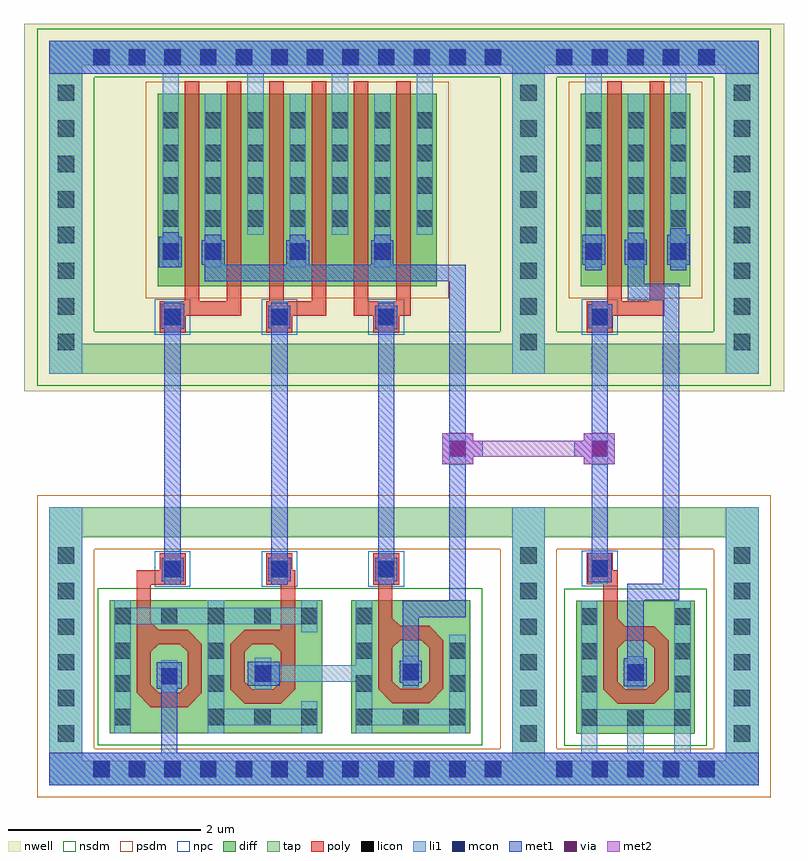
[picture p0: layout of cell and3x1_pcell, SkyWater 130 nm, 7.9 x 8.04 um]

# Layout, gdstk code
from math import pi, radians
import gdstk
lib = gdstk.Library(unit=1e-6, precision=1e-09)
def R(c, l, rs):  # rectangles x0, y0, x1, y1
    for r in rs: c.add(gdstk.rectangle(r[:2], r[2:], *l))
def A(c, l, x, y, w, h, nx, ny, dx, dy):  # array of equal rectangles
    R(c, l, [(x+i*dx, y+j*dy, x+i*dx+w, y+j*dy+h) for i in range(nx) for j in range(ny)])
def P(c, l, *ps):  # polygons
    for p in ps: c.add(gdstk.Polygon(p, *l))
nwell = (64, 20)
diff = (65, 20)
tap = (65, 44)
poly = (66, 20)
licon = (66, 44)
li1 = (67, 20)
mcon = (67, 44)
met1 = (68, 20)
via = (68, 44)
met2 = (69, 20)
nsdm = (93, 44)
psdm = (94, 20)
npc = (95, 20)

diff_ring_side = lib.new_cell('diff_ring_side')
R(diff_ring_side, nwell, [(-0.435,3.93,0.435,7.75)])
R(diff_ring_side, tap, [(-0.17,-0.17,0.17,2.72), (-0.17,4.11,0.17,7.57)])
A(diff_ring_side, licon, -0.085, 0.285, 0.17, 0.17, 1, 6, 0, 0.37)
A(diff_ring_side, licon, -0.085, 4.355, 0.17, 0.17, 1, 8, 0, 0.37)
R(diff_ring_side, li1, [(-0.17,-0.17,0.17,2.72), (-0.17,4.11,0.17,7.57)])
R(diff_ring_side, met1, [(-0.17,-0.17,0.17,0.17), (-0.17,7.23,0.17,7.57)])
R(diff_ring_side, nsdm, [(-0.295,3.985,0.295,7.695)])
R(diff_ring_side, psdm, [(-0.295,-0.295,0.295,2.845)])

nmos_bottom = lib.new_cell('nmos_bottom')
R(nmos_bottom, diff, [(0,0,1.24,1.38)])
R(nmos_bottom, poly, [(0.43,0.27,0.81,0.42), (0.28,0.42,0.43,0.925), (0.81,0.42,0.96,0.925), (0.43,0.925,0.96,1.075), (0.81,1.075,0.96,1.51)])
P(nmos_bottom, poly, [(0.73,1.075),(0.81,1.075),(0.81,1.155)],
  [(0.28,0.925),(0.43,0.925),(0.43,1.075)],
  [(0.43,0.845),(0.43,0.925),(0.51,0.925)],
  [(0.73,0.925),(0.81,0.925),(0.81,0.845)],
  [(0.43,0.5),(0.43,0.42),(0.51,0.42)],
  [(0.73,0.42),(0.81,0.42),(0.81,0.5)],
  [(0.28,0.42),(0.43,0.42),(0.43,0.27)],
  [(0.81,0.27),(0.81,0.42),(0.96,0.42)])
A(nmos_bottom, licon, 0.05, 1.13, 0.17, 0.17, 3, 1, 0.485, 0)
R(nmos_bottom, licon, [(0.05,0.08,0.22,0.25), (1.02,0.08,1.19,0.25), (0.05,0.43,0.22,0.6), (1.02,0.43,1.19,0.6), (0.535,0.505,0.705,0.675), (0.05,0.77,0.22,0.94), (1.02,0.77,1.19,0.94)])
R(nmos_bottom, li1, [(0.05,0,0.22,1.13), (1.02,0,1.19,1.13), (0.535,0.425,0.705,0.755), (0.05,1.13,1.19,1.3), (0.05,1.3,0.22,1.38), (1.02,1.3,1.19,1.38)])
R(nmos_bottom, nsdm, [(-0.125,-0.125,1.365,1.505)])

pmos2 = lib.new_cell('pmos2')
R(pmos2, nwell, [(0.26,-2.18,1.76,0.18)])
R(pmos2, diff, [(0.44,-2,1.58,0)])
R(pmos2, poly, [(0.72,-2.305,1.31,-2.155), (0.72,-2.155,0.87,0.13), (1.16,-2.155,1.31,0.13)])
A(pmos2, licon, 0.49, -1.38, 0.17, 0.17, 3, 4, 0.44, 0.34)
R(pmos2, li1, [(0.49,-1.465,0.66,0.21), (0.93,-1.465,1.1,0), (1.37,-1.465,1.54,0.21)])
R(pmos2, psdm, [(0.315,-2.125,1.705,0.125)])

poly_li1_contact = lib.new_cell('poly_li1_contact')
R(poly_li1_contact, poly, [(-0.16,-0.14,0.17,0.13)])
R(poly_li1_contact, licon, [(-0.08,-0.09,0.09,0.08)])
R(poly_li1_contact, li1, [(-0.16,-0.09,0.17,0.08)])
R(poly_li1_contact, npc, [(-0.18,-0.19,0.19,0.18)])

nmos_side_left = lib.new_cell('nmos_side_left')
R(nmos_side_left, diff, [(0,0,1.24,1.38)])
R(nmos_side_left, poly, [(0.435,0.305,0.81,0.455), (0.285,0.455,0.435,0.925), (0.81,0.455,0.96,0.925), (0.435,0.925,0.96,1.075), (0.81,1.075,0.96,1.51)])
P(nmos_side_left, poly, [(0.285,0.925),(0.435,0.925),(0.435,1.075)],
  [(0.435,0.845),(0.435,0.925),(0.515,0.925)],
  [(0.73,0.925),(0.81,0.925),(0.81,0.845)],
  [(0.435,0.535),(0.435,0.455),(0.515,0.455)],
  [(0.73,0.455),(0.81,0.455),(0.81,0.535)],
  [(0.285,0.455),(0.435,0.455),(0.435,0.305)],
  [(0.81,0.305),(0.81,0.455),(0.96,0.455)])
A(nmos_side_left, licon, 0.05, 0.08, 0.17, 0.17, 3, 2, 0.485, 1.05)
R(nmos_side_left, licon, [(0.05,0.43,0.22,0.6), (0.54,0.535,0.71,0.705), (0.05,0.77,0.22,0.94)])
R(nmos_side_left, li1, [(0.05,0,0.22,0.08), (1.02,0,1.19,0.08), (0.05,0.08,1.19,0.25), (0.05,0.25,0.22,1.13), (1.02,0.25,1.19,0.33), (0.54,0.455,0.71,0.785), (1.02,1.05,1.19,1.13), (0.05,1.13,1.19,1.3), (0.05,1.3,0.22,1.38), (1.02,1.3,1.19,1.38)])
R(nmos_side_left, nsdm, [(-0.125,-0.125,1.365,1.505)])

nmos_top_trim1 = lib.new_cell('nmos_top_trim1')
R(nmos_top_trim1, diff, [(0,0,1.24,1.38)])
R(nmos_top_trim1, poly, [(0.43,0.31,0.81,0.46), (0.28,0.46,0.43,0.965), (0.81,0.46,0.96,0.965), (0.43,0.965,0.96,1.115), (0.81,1.115,0.96,1.545)])
P(nmos_top_trim1, poly, [(0.73,1.115),(0.81,1.115),(0.81,1.195)],
  [(0.28,0.965),(0.43,0.965),(0.43,1.115)],
  [(0.43,0.885),(0.43,0.965),(0.51,0.965)],
  [(0.73,0.965),(0.81,0.965),(0.81,0.885)],
  [(0.43,0.54),(0.43,0.46),(0.51,0.46)],
  [(0.73,0.46),(0.81,0.46),(0.81,0.54)],
  [(0.28,0.46),(0.43,0.46),(0.43,0.31)],
  [(0.81,0.31),(0.81,0.46),(0.96,0.46)])
A(nmos_top_trim1, licon, 0.05, 0.08, 0.17, 0.17, 3, 1, 0.485, 0)
R(nmos_top_trim1, licon, [(0.05,0.43,0.22,0.6), (1.02,0.43,1.19,0.6), (0.535,0.55,0.705,0.72), (0.05,0.77,0.22,0.94), (1.02,0.77,1.19,0.94), (1.02,1.13,1.19,1.3)])
R(nmos_top_trim1, li1, [(0.05,0,0.22,0.08), (1.02,0,1.19,0.08), (0.05,0.08,1.19,0.25), (0.05,0.25,0.22,1.02), (1.02,0.25,1.19,1.38), (0.535,0.47,0.705,0.805)])
R(nmos_top_trim1, nsdm, [(-0.125,-0.125,1.365,1.505)])

nand3x1_pcell = lib.new_cell('nand3x1_pcell')
R(nand3x1_pcell, nwell, [(0.435,3.93,4.375,5.28), (0.435,5.28,1.1,5.295), (1.395,5.28,4.375,5.495), (0.435,5.295,1.025,5.465), (1.145,5.295,1.315,5.465), (0.435,5.465,1.1,5.495), (0.435,5.495,4.375,7.75)])
A(nand3x1_pcell, diff, 1.445, 5.295, 0.17, 0.17, 3, 1, 0.88, 0)
R(nand3x1_pcell, diff, [(1.005,5.295,1.175,5.465)])
R(nand3x1_pcell, tap, [(0.17,-0.17,4.64,0.085), (0.17,2.41,4.64,2.72), (0.17,4.11,4.64,4.42), (0.17,7.315,4.64,7.57)])
R(nand3x1_pcell, poly, [(0.735,1.885,0.885,1.915), (2.235,1.885,2.385,1.915), (0.735,1.915,0.975,2.065), (2.355,1.915,2.385,2.065)])
A(nand3x1_pcell, licon, 0.285, -0.085, 0.17, 0.17, 12, 2, 0.37, 7.4)
A(nand3x1_pcell, licon, 1.445, 5.295, 0.17, 0.17, 3, 1, 0.88, 0)
R(nand3x1_pcell, licon, [(1.005,5.295,1.175,5.465)])
A(nand3x1_pcell, li1, 1.025, 1.995, 0.17, 0.17, 3, 2, 1.11, 2.62)
R(nand3x1_pcell, li1, [(0.17,-0.17,4.65,0.17), (0.99,0.88,1.16,1.05), (1.965,0.91,3.015,1.08), (3.5,0.925,3.67,1.095), (1.005,5.215,1.175,5.6), (1.445,5.215,1.615,5.56), (2.325,5.215,2.495,5.585), (3.205,5.215,3.375,5.56), (0.07,7.23,4.715,7.57)])
A(nand3x1_pcell, mcon, 0.285, -0.085, 0.17, 0.17, 12, 2, 0.37, 7.4)
A(nand3x1_pcell, mcon, 1.025, 1.995, 0.17, 0.17, 3, 2, 1.11, 2.62)
A(nand3x1_pcell, mcon, 1.445, 5.295, 0.17, 0.17, 3, 1, 0.88, 0)
R(nand3x1_pcell, mcon, [(0.99,0.88,1.16,1.05), (1.965,0.91,2.135,1.08), (3.5,0.925,3.67,1.095), (1.005,5.295,1.175,5.465)])
A(nand3x1_pcell, met1, 1.025, 1.915, 0.17, 0.04, 3, 1, 1.11, 0)
A(nand3x1_pcell, met1, 1.445, 5.495, 0.17, 0.06, 3, 1, 0.88, 0)
R(nand3x1_pcell, met1, [(0.17,-0.17,4.64,0.17), (0.99,0.17,1.16,0.835), (0.945,0.835,1.205,1.11), (1.89,0.865,2.225,1.115), (3.5,0.865,3.67,0.895), (3.47,0.895,3.7,1.125), (3.5,1.125,3.67,1.58), (3.5,1.58,4.155,1.75), (3.985,1.75,4.155,5.07), (0.995,1.955,1.225,2.195), (2.105,1.955,2.34,2.195), (3.215,1.955,3.445,2.195), (1.025,2.195,1.195,4.575), (2.135,2.195,2.305,4.585), (3.245,2.195,3.415,4.57), (3.215,4.57,3.445,4.815), (0.99,4.575,1.23,4.835), (2.105,4.585,2.335,4.815), (2.135,4.815,2.305,4.845), (3.245,4.815,3.415,4.845), (1.025,4.835,1.195,4.845), (1.445,5.07,4.155,5.24), (0.965,5.215,1.205,5.535), (1.415,5.24,1.65,5.495), (2.29,5.24,2.53,5.495), (3.175,5.24,3.405,5.495), (1.005,5.535,1.175,5.58), (0.17,7.23,4.64,7.57)])
R(nand3x1_pcell, nsdm, [(2.79,0.25,2.84,1.88), (0.045,3.985,4.765,4.545), (0.045,7.19,4.765,7.695)])
R(nand3x1_pcell, psdm, [(0.045,-0.295,4.765,0.21), (0.045,2.285,4.765,2.845), (0.88,5.17,1.74,5.59), (2.2,5.17,2.62,5.59), (3.08,5.17,3.5,5.59)])
nand3x1_pcell.add(gdstk.Reference(diff_ring_side, (0,0)))
nand3x1_pcell.add(gdstk.Reference(nmos_bottom, (1.695,0.375), rotation=pi, x_reflection=True))
nand3x1_pcell.add(gdstk.Reference(pmos2, (0.515,7.02)))
nand3x1_pcell.add(gdstk.Reference(poly_li1_contact, (1.115,4.705), rotation=3*pi/2))
nand3x1_pcell.add(gdstk.Reference(poly_li1_contact, (1.105,2.075), rotation=pi/2))
nand3x1_pcell.add(gdstk.Reference(nmos_side_left, (1.425,0.375)))
nand3x1_pcell.add(gdstk.Reference(pmos2, (1.395,7.02)))
nand3x1_pcell.add(gdstk.Reference(pmos2, (2.275,7.02)))
nand3x1_pcell.add(gdstk.Reference(poly_li1_contact, (2.215,2.075), rotation=pi/2))
nand3x1_pcell.add(gdstk.Reference(poly_li1_contact, (2.215,4.695), rotation=pi/2))
nand3x1_pcell.add(gdstk.Reference(nmos_top_trim1, (4.205,0.375), rotation=pi, x_reflection=True))
nand3x1_pcell.add(gdstk.Reference(poly_li1_contact, (3.325,2.075), rotation=pi/2))
nand3x1_pcell.add(gdstk.Reference(poly_li1_contact, (3.335,4.705), rotation=3*pi/2))
nand3x1_pcell.add(gdstk.Reference(diff_ring_side, (4.81,0)))

li1_m1_contact = lib.new_cell('li1_M1_contact')
R(li1_m1_contact, li1, [(-0.085,-0.165,0.085,0.165)])
R(li1_m1_contact, mcon, [(-0.085,-0.085,0.085,0.085)])
R(li1_m1_contact, met1, [(-0.115,-0.115,0.115,-0.085), (-0.265,-0.085,0.145,0.085), (-0.115,0.085,0.115,0.115)])

nmos_top = lib.new_cell('nmos_top')
R(nmos_top, diff, [(0,0,1.23,1.38)])
R(nmos_top, poly, [(0.42,0.31,0.8,0.46), (0.27,0.46,0.42,0.965), (0.8,0.46,0.95,0.965), (0.42,0.965,0.95,1.115), (0.8,1.115,0.95,1.54)])
P(nmos_top, poly, [(0.72,1.115),(0.8,1.115),(0.8,1.195)],
  [(0.27,0.965),(0.42,0.965),(0.42,1.115)],
  [(0.42,0.885),(0.42,0.965),(0.5,0.965)],
  [(0.72,0.965),(0.8,0.965),(0.8,0.885)],
  [(0.42,0.54),(0.42,0.46),(0.5,0.46)],
  [(0.72,0.46),(0.8,0.46),(0.8,0.54)],
  [(0.27,0.46),(0.42,0.46),(0.42,0.31)],
  [(0.8,0.31),(0.8,0.46),(0.95,0.46)])
R(nmos_top, licon, [(0.04,0.08,0.21,0.25), (0.53,0.08,0.7,0.25), (1.01,0.08,1.18,0.25), (0.04,0.43,0.21,0.6), (1.01,0.43,1.18,0.6), (0.53,0.55,0.7,0.72), (0.04,0.77,0.21,0.94), (1.01,0.77,1.18,0.94), (0.04,1.13,0.21,1.3), (1.01,1.13,1.18,1.3)])
R(nmos_top, li1, [(0.04,0,0.21,0.08), (1.01,0,1.18,0.08), (0.04,0.08,1.18,0.25), (0.04,0.25,0.21,1.38), (1.01,0.25,1.18,1.38), (0.53,0.47,0.7,0.805)])
R(nmos_top, nsdm, [(-0.125,-0.125,1.355,1.505)])

invx1_pcell = lib.new_cell('invx1_pcell')
R(invx1_pcell, nwell, [(-0.435,3.93,2.655,7.75)])
A(invx1_pcell, diff, 0.59, 5.295, 0.17, 0.17, 3, 1, 0.44, 0)
R(invx1_pcell, tap, [(0.17,-0.17,2.05,0.085), (0.17,2.41,2.05,2.72), (0.17,4.11,2.05,4.42), (0.17,7.315,2.05,7.57)])
R(invx1_pcell, poly, [(0.775,1.905,0.925,2.065)])
A(invx1_pcell, licon, 0.285, -0.085, 0.17, 0.17, 5, 2, 0.37, 7.4)
A(invx1_pcell, licon, 0.59, 5.295, 0.17, 0.17, 3, 1, 0.44, 0)
A(invx1_pcell, li1, 0.59, 5.215, 0.17, 0.37, 3, 1, 0.44, 0)
R(invx1_pcell, li1, [(-0.17,-0.17,2.33,0.17), (0.545,0.17,0.715,0.42), (1.025,0.17,1.195,0.45), (1.515,0.17,1.685,0.45), (1.025,0.92,1.195,1.09), (0.655,2,0.825,2.17), (0.655,4.615,0.825,4.785), (-0.17,7.23,2.39,7.57)])
A(invx1_pcell, mcon, 0.285, -0.085, 0.17, 0.17, 5, 2, 0.37, 7.4)
A(invx1_pcell, mcon, 0.59, 5.295, 0.17, 0.17, 3, 1, 0.44, 0)
R(invx1_pcell, mcon, [(1.025,0.92,1.195,1.09), (0.655,2,0.825,2.17), (0.655,4.615,0.825,4.785)])
R(invx1_pcell, met1, [(-0.17,-0.17,2.39,0.17), (0.99,0.86,1.23,1.15), (1.025,1.15,1.195,1.755), (1.025,1.755,1.565,1.925), (1.395,1.925,1.565,4.875), (0.615,1.94,0.865,2.25), (0.655,2.25,0.825,4.58), (0.62,4.58,0.87,4.83), (0.655,4.83,0.825,4.865), (1.03,4.875,1.565,5.045), (1.03,5.045,1.2,5.24), (0.59,5.185,0.76,5.24), (1.47,5.185,1.64,5.24), (0.56,5.24,0.795,5.555), (1,5.24,1.23,5.505), (1.44,5.24,1.675,5.555), (1.03,5.505,1.2,5.575), (1.47,5.555,1.64,5.62), (-0.17,7.23,2.39,7.57)])
R(invx1_pcell, nsdm, [(0.045,3.985,2.175,4.545), (0.045,7.19,2.175,7.695)])
R(invx1_pcell, psdm, [(0.045,-0.295,2.175,0.21), (0.045,2.285,2.175,2.845), (0.465,5.17,1.765,5.59)])
invx1_pcell.add(gdstk.Reference(poly_li1_contact, (0.735,2.08), rotation=pi/2))
invx1_pcell.add(gdstk.Reference(poly_li1_contact, (0.745,4.705), rotation=3*pi/2))
invx1_pcell.add(gdstk.Reference(pmos2, (0.1,7.02)))
invx1_pcell.add(gdstk.Reference(nmos_top, (1.725,0.37), rotation=pi, x_reflection=True))
invx1_pcell.add(gdstk.Reference(diff_ring_side, (0,0)))
invx1_pcell.add(gdstk.Reference(diff_ring_side, (2.22,0)))

and3x1_pcell = lib.new_cell('and3x1_pcell')
R(and3x1_pcell, met1, [(3.915,3.17,4.235,3.49), (5.385,3.17,5.705,3.49)])
R(and3x1_pcell, via, [(4,3.255,4.15,3.405), (5.47,3.255,5.62,3.405)])
R(and3x1_pcell, met2, [(3.915,3.17,4.235,3.245), (5.385,3.17,5.705,3.245), (3.915,3.245,5.705,3.415), (3.915,3.415,4.235,3.49), (5.385,3.415,5.705,3.49)])
and3x1_pcell.add(gdstk.Reference(nand3x1_pcell, (0,0)))
and3x1_pcell.add(gdstk.Reference(li1_m1_contact, (5.55,3.33)))
and3x1_pcell.add(gdstk.Reference(li1_m1_contact, (4.07,3.33), rotation=pi))
and3x1_pcell.add(gdstk.Reference(invx1_pcell, (4.81,0)))

lib.write_gds('and3x1_pcell.gds')
